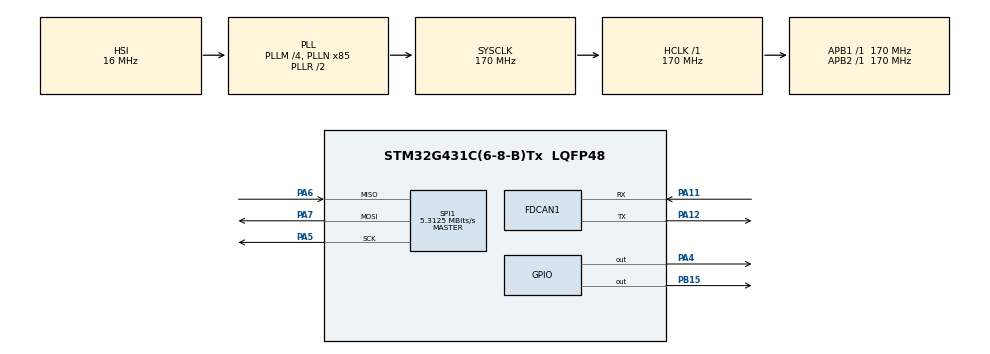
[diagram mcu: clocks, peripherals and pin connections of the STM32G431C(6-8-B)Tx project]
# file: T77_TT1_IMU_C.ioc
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FDCAN1.AutoRetransmission=ENABLE
FDCAN1.CalculateBaudRateNominal=499999
FDCAN1.CalculateTimeBitNominal=2000
FDCAN1.CalculateTimeQuantumNominal=117.64705882352942
FDCAN1.DataPrescaler=20
FDCAN1.DataTimeSeg1=14
FDCAN1.DataTimeSeg2=2
FDCAN1.NominalPrescaler=20
FDCAN1.NominalTimeSeg1=14
Mcu.Family=STM32G4
Mcu.Name=STM32G431C(6-8-B)Tx
Mcu.Package=LQFP48
NVIC.PriorityGroup=NVIC_PRIORITYGROUP_4
NVIC.TIM6_DAC_IRQn=true\:0\:0\:false\:false\:true\:true\:true\:true
PA11.Mode=FDCAN_Activate
PA11.Signal=FDCAN1_RX
PA12.Mode=FDCAN_Activate
PA12.Signal=FDCAN1_TX
PA13.Mode=Serial_Wire
PA13.Signal=SYS_JTMS-SWDIO
PA14.Mode=Serial_Wire
PA14.Signal=SYS_JTCK-SWCLK
PA4.PinState=GPIO_PIN_SET
PA4.Signal=GPIO_Output
PA5.Mode=Full_Duplex_Master
PA5.Signal=SPI1_SCK
PA6.Mode=Full_Duplex_Master
PA6.Signal=SPI1_MISO
PA7.Mode=Full_Duplex_Master
PA7.Signal=SPI1_MOSI
PB15.Signal=GPIO_Output
ProjectManager.HeapSize=0x200
ProjectManager.StackSize=0x400
ProjectManager.TargetToolchain=STM32CubeIDE
RCC.ADC12Freq_Value=170000000
RCC.AHBFreq_Value=170000000
RCC.APB1Freq_Value=170000000
RCC.APB1TimFreq_Value=170000000
RCC.APB2Freq_Value=170000000
RCC.APB2TimFreq_Value=170000000
RCC.CortexFreq_Value=170000000
RCC.EXTERNAL_CLOCK_VALUE=12288000
RCC.HCLKFreq_Value=170000000
RCC.HSE_VALUE=8000000
RCC.HSI48_VALUE=48000000
RCC.HSI_VALUE=16000000
RCC.LSE_VALUE=32768
RCC.PLLM=RCC_PLLM_DIV4
RCC.PLLN=85
RCC.SYSCLKFreq_VALUE=170000000
RCC.SYSCLKSource=RCC_SYSCLKSOURCE_PLLCLK
RCC.USBFreq_Value=170000000
RCC.VCOOutputFreq_Value=340000000
SPI1.BaudRatePrescaler=SPI_BAUDRATEPRESCALER_32
SPI1.CalculateBaudRate=5.3125 MBits/s
SPI1.DataSize=SPI_DATASIZE_8BIT
SPI1.Direction=SPI_DIRECTION_2LINES
SPI1.Mode=SPI_MODE_MASTER
SPI1.NSSPMode=SPI_NSS_PULSE_DISABLE
SPI1.VirtualType=VM_MASTER
TIM6.PeriodNoDither=9999
TIM6.Prescaler=169
VP_TIM6_VS_ClockSourceINT.Mode=Enable_Timer
board=custom

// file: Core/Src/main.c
/* USER CODE BEGIN Header */
/**
  ******************************************************************************
  * @file           : main.c
  * @brief          : Main program body
  ******************************************************************************
  * @attention
  *
  * Copyright (c) 2023 STMicroelectronics.
  * All rights reserved.
  *
  * This software is licensed under terms that can be found in the LICENSE file
  * in the root directory of this software component.
  * If no LICENSE file comes with this software, it is provided AS-IS.
  *
  ******************************************************************************
  */
/* USER CODE END Header */
#include "main.h"

/* USER CODE BEGIN Includes */
#include "icm42607t.h"
#include "stdbool.h"
/* USER CODE END Includes */

FDCAN_HandleTypeDef hfdcan1;

SPI_HandleTypeDef hspi1;

TIM_HandleTypeDef htim6;

/* USER CODE BEGIN PV */
FDCAN_TxHeaderTypeDef ftt1;
FDCAN_TxHeaderTypeDef ftt2;
FDCAN_TxHeaderTypeDef ftt3;
ICM42607T_REGISTER_MAP icm42607trm;
union {
    struct
	{
        uint8_t AXL;
        uint8_t AXH;
        uint8_t AYL;
        uint8_t AYH;
        uint8_t AZL;
        uint8_t AZH;
        uint8_t GXL;
        uint8_t GXH;
        uint8_t GYL;
        uint8_t GYH;
        uint8_t GZL;
        uint8_t GZH;
    };
    struct
	{
    	int16_t AX;
    	int16_t AY;
    	int16_t AZ;
    	int16_t GX;
    	int16_t GY;
    	int16_t GZ;
	};
    uint8_t data8[12];
    int16_t data16[6];
}imuData;

typedef union
{
	struct
	{
		union
		{
			struct
			{
				uint8_t YAW_RATE_L;
				uint8_t YAW_RATE_H;
			};
			uint16_t YAW_RATE;
		};
		uint8_t CLU_STAT:4;
		uint8_t YAW_RATE_STAT:4;
		uint8_t TEMP_RATE_Z;
		union
		{
			struct
			{
				uint8_t AY_L;
				uint8_t AY_H;
			};
			uint16_t AY;
		};
		uint8_t MSG_CNT:4;
		uint8_t AY_STAT:4;
		uint8_t CRC_;
	};
	uint8_t data[8];
}CAN_0x174;

typedef union
{
	struct
	{
		union
		{
			struct
			{
				uint8_t ROLL_RATE_L;
				uint8_t ROLL_RATE_H;
			};
			uint16_t ROLL_RATE;
		};
		uint8_t CLU_STAT5:4;
		uint8_t ROLL_RATE_STAT:4;
		uint8_t CLU_DIAG;
		union
		{
			struct
			{
				uint8_t AX_L;
				uint8_t AX_H;
			};
			uint16_t AX;
		};
		uint8_t MSG_CNT:4;
		uint8_t AX_STAT:4;
		uint8_t CRC_;
	};
	uint8_t data[8];
}CAN_0x178;

typedef union
{
	struct
	{
		union
		{
			struct
			{
				uint8_t PITCH_RATE_L;
				uint8_t PITCH_RATE_H;
			};
			uint16_t PITCH_RATE;
		};
		uint8_t HW_INDEX:4;
		uint8_t PITCH_RATE_STAT:4;
		uint8_t Reserved;
		union
		{
			struct
			{
				uint8_t AZ_L;
				uint8_t AZ_H;
			};
			uint16_t AZ;
		};
		uint8_t MSG_CNT:4;
		uint8_t AZ_STAT:4;
		uint8_t CRC_;
	};
	uint8_t data[8];
}CAN_0x17C;

typedef struct{
	uint32_t timer;
	union
	{
		CAN_0x174 can0x174;
		CAN_0x178 can0x178;
		CAN_0x17C can0x17C;
		uint8_t data8[8];
	};
	bool lose;
}CAN_MESSAGE;

CAN_MESSAGE canMessage0x174;
CAN_MESSAGE canMessage0x178;
CAN_MESSAGE canMessage0x17C;
/* USER CODE END PV */

void SystemClock_Config(void);
static void MX_GPIO_Init(void);
static void MX_FDCAN1_Init(void);
static void MX_SPI1_Init(void);
static void MX_TIM6_Init(void);
/* USER CODE BEGIN PFP */
void SPI2SWNSSTransmitReceive(uint8_t *txData,uint8_t *rxData,uint16_t length);
void CanOutput(void);
void ReadImuICM42607T(void);
void ConfigICM42607T(void);
void CanInitial(void);
uint16_t GetRealAccelerometer(int16_t inputData);
uint16_t GetRealGyroscope(int16_t inputData);
uint16_t GetRealGx(int16_t inputData);
uint8_t Crc8Saej1850(uint8_t *data,int length);
/* USER CODE END PFP */

int main(void)
{

  /* MCU Configuration--------------------------------------------------------*/

  /* Reset of all peripherals, Initializes the Flash interface and the Systick. */
  HAL_Init();

  /* Configure the system clock */
  SystemClock_Config();

  /* Initialize all configured peripherals */
  MX_GPIO_Init();
  MX_FDCAN1_Init();
  MX_SPI1_Init();
  MX_TIM6_Init();
  /* USER CODE BEGIN 2 */
  HAL_Delay(100);
  if (HAL_FDCAN_Start(&hfdcan1) != HAL_OK)
  {
	  Error_Handler();
  }
  if (HAL_FDCAN_ActivateNotification(&hfdcan1, FDCAN_IT_RX_FIFO0_NEW_MESSAGE, 0) != HAL_OK)
  {
	  Error_Handler();
  }
  if (HAL_FDCAN_ActivateNotification(&hfdcan1, FDCAN_IT_TX_FIFO_EMPTY, 0) != HAL_OK)
  {
	  Error_Handler();
  }
  CanInitial();
  ConfigICM42607T();
  HAL_TIM_Base_Start_IT(&htim6);
  /* USER CODE END 2 */

  /* Infinite loop */
  while (1)
  {

  }
}

void SystemClock_Config(void)
{
  RCC_OscInitTypeDef RCC_OscInitStruct = {0};
  RCC_ClkInitTypeDef RCC_ClkInitStruct = {0};

  /** Configure the main internal regulator output voltage
  */
  HAL_PWREx_ControlVoltageScaling(PWR_REGULATOR_VOLTAGE_SCALE1_BOOST);

  /** Initializes the RCC Oscillators according to the specified parameters
  * in the RCC_OscInitTypeDef structure.
  */
  RCC_OscInitStruct.OscillatorType = RCC_OSCILLATORTYPE_HSI;
  RCC_OscInitStruct.HSIState = RCC_HSI_ON;
  RCC_OscInitStruct.HSICalibrationValue = RCC_HSICALIBRATION_DEFAULT;
  RCC_OscInitStruct.PLL.PLLState = RCC_PLL_ON;
  RCC_OscInitStruct.PLL.PLLSource = RCC_PLLSOURCE_HSI;
  RCC_OscInitStruct.PLL.PLLM = RCC_PLLM_DIV4;
  RCC_OscInitStruct.PLL.PLLN = 85;
  RCC_OscInitStruct.PLL.PLLP = RCC_PLLP_DIV2;
  RCC_OscInitStruct.PLL.PLLQ = RCC_PLLQ_DIV2;
  RCC_OscInitStruct.PLL.PLLR = RCC_PLLR_DIV2;
  if (HAL_RCC_OscConfig(&RCC_OscInitStruct) != HAL_OK)
  {
    Error_Handler();
  }

  /** Initializes the CPU, AHB and APB buses clocks
  */
  RCC_ClkInitStruct.ClockType = RCC_CLOCKTYPE_HCLK|RCC_CLOCKTYPE_SYSCLK
                              |RCC_CLOCKTYPE_PCLK1|RCC_CLOCKTYPE_PCLK2;
  RCC_ClkInitStruct.SYSCLKSource = RCC_SYSCLKSOURCE_PLLCLK;
  RCC_ClkInitStruct.AHBCLKDivider = RCC_SYSCLK_DIV1;
  RCC_ClkInitStruct.APB1CLKDivider = RCC_HCLK_DIV1;
  RCC_ClkInitStruct.APB2CLKDivider = RCC_HCLK_DIV1;

  if (HAL_RCC_ClockConfig(&RCC_ClkInitStruct, FLASH_LATENCY_4) != HAL_OK)
  {
    Error_Handler();
  }
}

static void MX_FDCAN1_Init(void)
{

  hfdcan1.Instance = FDCAN1;
  hfdcan1.Init.ClockDivider = FDCAN_CLOCK_DIV1;
  hfdcan1.Init.FrameFormat = FDCAN_FRAME_CLASSIC;
  hfdcan1.Init.Mode = FDCAN_MODE_NORMAL;
  hfdcan1.Init.AutoRetransmission = ENABLE;
  hfdcan1.Init.TransmitPause = DISABLE;
  hfdcan1.Init.ProtocolException = DISABLE;
  hfdcan1.Init.NominalPrescaler = 20;
  hfdcan1.Init.NominalSyncJumpWidth = 1;
  hfdcan1.Init.NominalTimeSeg1 = 14;
  hfdcan1.Init.NominalTimeSeg2 = 2;
  hfdcan1.Init.DataPrescaler = 20;
  hfdcan1.Init.DataSyncJumpWidth = 1;
  hfdcan1.Init.DataTimeSeg1 = 14;
  hfdcan1.Init.DataTimeSeg2 = 2;
  hfdcan1.Init.StdFiltersNbr = 0;
  hfdcan1.Init.ExtFiltersNbr = 0;
  hfdcan1.Init.TxFifoQueueMode = FDCAN_TX_FIFO_OPERATION;
  if (HAL_FDCAN_Init(&hfdcan1) != HAL_OK)
  {
    Error_Handler();
  }

}

static void MX_SPI1_Init(void)
{

  /* SPI1 parameter configuration*/
  hspi1.Instance = SPI1;
  hspi1.Init.Mode = SPI_MODE_MASTER;
  hspi1.Init.Direction = SPI_DIRECTION_2LINES;
  hspi1.Init.DataSize = SPI_DATASIZE_8BIT;
  hspi1.Init.CLKPolarity = SPI_POLARITY_LOW;
  hspi1.Init.CLKPhase = SPI_PHASE_1EDGE;
  hspi1.Init.NSS = SPI_NSS_SOFT;
  hspi1.Init.BaudRatePrescaler = SPI_BAUDRATEPRESCALER_32;
  hspi1.Init.FirstBit = SPI_FIRSTBIT_MSB;
  hspi1.Init.TIMode = SPI_TIMODE_DISABLE;
  hspi1.Init.CRCCalculation = SPI_CRCCALCULATION_DISABLE;
  hspi1.Init.CRCPolynomial = 7;
  hspi1.Init.CRCLength = SPI_CRC_LENGTH_DATASIZE;
  hspi1.Init.NSSPMode = SPI_NSS_PULSE_DISABLE;
  if (HAL_SPI_Init(&hspi1) != HAL_OK)
  {
    Error_Handler();
  }

}

static void MX_TIM6_Init(void)
{

  TIM_MasterConfigTypeDef sMasterConfig = {0};

  htim6.Instance = TIM6;
  htim6.Init.Prescaler = 169;
  htim6.Init.CounterMode = TIM_COUNTERMODE_UP;
  htim6.Init.Period = 9999;
  htim6.Init.AutoReloadPreload = TIM_AUTORELOAD_PRELOAD_DISABLE;
  if (HAL_TIM_Base_Init(&htim6) != HAL_OK)
  {
    Error_Handler();
  }
  sMasterConfig.MasterOutputTrigger = TIM_TRGO_RESET;
  sMasterConfig.MasterSlaveMode = TIM_MASTERSLAVEMODE_DISABLE;
  if (HAL_TIMEx_MasterConfigSynchronization(&htim6, &sMasterConfig) != HAL_OK)
  {
    Error_Handler();
  }

}

static void MX_GPIO_Init(void)
{
  GPIO_InitTypeDef GPIO_InitStruct = {0};

  /* GPIO Ports Clock Enable */
  __HAL_RCC_GPIOA_CLK_ENABLE();
  __HAL_RCC_GPIOB_CLK_ENABLE();

  /*Configure GPIO pin Output Level */
  HAL_GPIO_WritePin(GPIOA, GPIO_PIN_4, GPIO_PIN_SET);

  /*Configure GPIO pin Output Level */
  HAL_GPIO_WritePin(GPIOB, GPIO_PIN_15, GPIO_PIN_RESET);

  /*Configure GPIO pin : PA4 */
  GPIO_InitStruct.Pin = GPIO_PIN_4;
  GPIO_InitStruct.Mode = GPIO_MODE_OUTPUT_PP;
  GPIO_InitStruct.Pull = GPIO_NOPULL;
  GPIO_InitStruct.Speed = GPIO_SPEED_FREQ_LOW;
  HAL_GPIO_Init(GPIOA, &GPIO_InitStruct);

  /*Configure GPIO pin : PB15 */
  GPIO_InitStruct.Pin = GPIO_PIN_15;
  GPIO_InitStruct.Mode = GPIO_MODE_OUTPUT_PP;
  GPIO_InitStruct.Pull = GPIO_NOPULL;
  GPIO_InitStruct.Speed = GPIO_SPEED_FREQ_LOW;
  HAL_GPIO_Init(GPIOB, &GPIO_InitStruct);

}

/* USER CODE BEGIN 4 */

uint8_t Crc8Saej1850(uint8_t *data,int length)
{
	uint8_t t_crc;
    t_crc = 0xFF;//Initial value 0xFF
    for (int f = 0; f < length; f++)
    {
    	t_crc ^= data[f];
        for (int b = 0; b < 8; b++)
        {
            if ((t_crc & 0x80) != 0)
            {
                t_crc <<= 1;
                t_crc ^= 0x1D;//Polynomial 0x1D
            }
            else
            {
                t_crc <<= 1;
            }
        }
    }
    return ~t_crc;//XOR 0xFF
}

void ConfigICM42607T(void)
{
	uint8_t spiTxBuffer[16];
	uint8_t spiRxBuffer[16];

	icm42607trm.BANK0.PWR_MGMT0.data8[0]=0x00;
	icm42607trm.BANK0.GYRO_CONFIG0.data8[0]=0x06;
	icm42607trm.BANK0.ACCEL_CONFIG0.data8[0]=0x06;
	icm42607trm.BANK0.TEMP_CONFIG0.data8[0]=0x00;
	icm42607trm.BANK0.GYRO_CONFIG1.data8[0]=0x31;
	icm42607trm.BANK0.ACCEL_CONFIG1.data8[0]=0x41;

	icm42607trm.BANK0.PWR_MGMT0.ACCEL_MODE=3;
	icm42607trm.BANK0.PWR_MGMT0.GYRO_MODE=3;
	icm42607trm.BANK0.GYRO_CONFIG0.GYRO_UI_FS_SEL=3;
	icm42607trm.BANK0.GYRO_CONFIG0.GYRO_ODR=5;
	icm42607trm.BANK0.ACCEL_CONFIG0.ACCEL_UI_FS_SEL=2;
	icm42607trm.BANK0.ACCEL_CONFIG0.ACCEL_ODR=5;
	icm42607trm.BANK0.GYRO_CONFIG1.GYRO_UI_FILT_BW=7;
	icm42607trm.BANK0.ACCEL_CONFIG1.ACCEL_UI_FILT_BW=7;

	spiTxBuffer[0] = ICM42607T_ADDR_B0_PWR_MGMT0;
	spiTxBuffer[1] = icm42607trm.BANK0.PWR_MGMT0.data8[0];
	spiTxBuffer[2] = icm42607trm.BANK0.GYRO_CONFIG0.data8[0];
	spiTxBuffer[3] = icm42607trm.BANK0.ACCEL_CONFIG0.data8[0];
	spiTxBuffer[4] = icm42607trm.BANK0.TEMP_CONFIG0.data8[0];
	spiTxBuffer[5] = icm42607trm.BANK0.GYRO_CONFIG1.data8[0];
	spiTxBuffer[6] = icm42607trm.BANK0.ACCEL_CONFIG1.data8[0];
	SPI2SWNSSTransmitReceive(spiTxBuffer,spiRxBuffer,7);
	//WhoAmICheck();
}

void ReadImuICM42607T(void)
{
	uint8_t spiTxBuffer[16];
	uint8_t spiRxBuffer[16];

	spiTxBuffer[0] = ICM42607T_ADDR_B0_ACCEL_DATA_X1+0x80;
	SPI2SWNSSTransmitReceive(spiTxBuffer,spiRxBuffer,13);
	imuData.AXL=spiRxBuffer[1+ICM42607T_ADDR_B0_ACCEL_DATA_X0-ICM42607T_ADDR_B0_ACCEL_DATA_X1];
	imuData.AXH=spiRxBuffer[1+ICM42607T_ADDR_B0_ACCEL_DATA_X1-ICM42607T_ADDR_B0_ACCEL_DATA_X1];
	imuData.AYL=spiRxBuffer[1+ICM42607T_ADDR_B0_ACCEL_DATA_Y0-ICM42607T_ADDR_B0_ACCEL_DATA_X1];
	imuData.AYH=spiRxBuffer[1+ICM42607T_ADDR_B0_ACCEL_DATA_Y1-ICM42607T_ADDR_B0_ACCEL_DATA_X1];
	imuData.AZL=spiRxBuffer[1+ICM42607T_ADDR_B0_ACCEL_DATA_Z0-ICM42607T_ADDR_B0_ACCEL_DATA_X1];
	imuData.AZH=spiRxBuffer[1+ICM42607T_ADDR_B0_ACCEL_DATA_Z1-ICM42607T_ADDR_B0_ACCEL_DATA_X1];
	imuData.GXL=spiRxBuffer[1+ICM42607T_ADDR_B0_GYRO_DATA_X0-ICM42607T_ADDR_B0_ACCEL_DATA_X1];
	imuData.GXH=spiRxBuffer[1+ICM42607T_ADDR_B0_GYRO_DATA_X1-ICM42607T_ADDR_B0_ACCEL_DATA_X1];
	imuData.GYL=spiRxBuffer[1+ICM42607T_ADDR_B0_GYRO_DATA_Y0-ICM42607T_ADDR_B0_ACCEL_DATA_X1];
	imuData.GYH=spiRxBuffer[1+ICM42607T_ADDR_B0_GYRO_DATA_Y1-ICM42607T_ADDR_B0_ACCEL_DATA_X1];
	imuData.GZL=spiRxBuffer[1+ICM42607T_ADDR_B0_GYRO_DATA_Z0-ICM42607T_ADDR_B0_ACCEL_DATA_X1];
	imuData.GZH=spiRxBuffer[1+ICM42607T_ADDR_B0_GYRO_DATA_Z1-ICM42607T_ADDR_B0_ACCEL_DATA_X1];
}

void CanInitial(void)
{
	ftt1.Identifier = 0x174;
	ftt1.IdType = FDCAN_STANDARD_ID;
	ftt1.TxFrameType = FDCAN_DATA_FRAME;
	ftt1.DataLength = FDCAN_DLC_BYTES_8;
	ftt1.ErrorStateIndicator = FDCAN_ESI_ACTIVE;
	ftt1.BitRateSwitch = FDCAN_BRS_OFF;
	ftt1.FDFormat = FDCAN_CLASSIC_CAN;
	ftt1.TxEventFifoControl = FDCAN_NO_TX_EVENTS;
	ftt1.MessageMarker = 0;

	ftt2.Identifier = 0x178;
	ftt2.IdType = FDCAN_STANDARD_ID;
	ftt2.TxFrameType = FDCAN_DATA_FRAME;
	ftt2.DataLength = FDCAN_DLC_BYTES_8;
	ftt2.ErrorStateIndicator = FDCAN_ESI_ACTIVE;
	ftt2.BitRateSwitch = FDCAN_BRS_OFF;
	ftt2.FDFormat = FDCAN_CLASSIC_CAN;
	ftt2.TxEventFifoControl = FDCAN_NO_TX_EVENTS;
	ftt2.MessageMarker = 0;

	ftt3.Identifier = 0x17C;
	ftt3.IdType = FDCAN_STANDARD_ID;
	ftt3.TxFrameType = FDCAN_DATA_FRAME;
	ftt3.DataLength = FDCAN_DLC_BYTES_8;
	ftt3.ErrorStateIndicator = FDCAN_ESI_ACTIVE;
	ftt3.BitRateSwitch = FDCAN_BRS_OFF;
	ftt3.FDFormat = FDCAN_CLASSIC_CAN;
	ftt3.TxEventFifoControl = FDCAN_NO_TX_EVENTS;
	ftt3.MessageMarker = 0;
}

void CanOutput(void)
{
	static uint8_t counter=0;

	canMessage0x174.can0x174.AY=GetRealAccelerometer(imuData.AY);
	canMessage0x178.can0x178.AX=GetRealAccelerometer(imuData.AX);
	canMessage0x17C.can0x17C.AZ=GetRealAccelerometer(imuData.AZ);

	canMessage0x174.can0x174.YAW_RATE=GetRealGyroscope(imuData.GZ);
	canMessage0x178.can0x178.ROLL_RATE=GetRealGx(imuData.GX);
	canMessage0x17C.can0x17C.PITCH_RATE=GetRealGyroscope(imuData.GY);

	canMessage0x174.can0x174.MSG_CNT=counter;
	canMessage0x178.can0x178.MSG_CNT=counter;
	canMessage0x17C.can0x17C.MSG_CNT=counter;

	counter++;

	canMessage0x174.can0x174.CRC_=Crc8Saej1850(canMessage0x174.data8, 7);
	canMessage0x178.can0x178.CRC_=Crc8Saej1850(canMessage0x178.data8, 7);
	canMessage0x17C.can0x17C.CRC_=Crc8Saej1850(canMessage0x17C.data8, 7);

	HAL_FDCAN_AddMessageToTxFifoQ(&hfdcan1, &ftt1, canMessage0x174.data8);
	HAL_FDCAN_AddMessageToTxFifoQ(&hfdcan1, &ftt2, canMessage0x178.data8);
	HAL_FDCAN_AddMessageToTxFifoQ(&hfdcan1, &ftt3, canMessage0x17C.data8);
}
void SPI2SWNSSTransmitReceive(uint8_t *txData,uint8_t *rxData,uint16_t length)
{
	HAL_GPIO_WritePin(GPIOA, GPIO_PIN_4, GPIO_PIN_RESET);
	HAL_SPI_TransmitReceive(&hspi1, txData, rxData, length,1000);
	HAL_GPIO_WritePin(GPIOA, GPIO_PIN_4, GPIO_PIN_SET);
}

uint16_t GetRealAccelerometer(int16_t inputData) {
	double result=(double)inputData;
	result=result * 8 / 65535*9.8*800+32768;
	if(result>65534)result=65534;
	else if(result<0)result=0;
	uint16_t result16=result;
	return result16;
}

uint16_t GetRealGyroscope(int16_t inputData) {
	double result=(double)inputData;
	result=result* 500 / 65535*200+32768;
	if(result>65534)result=65534;
	else if(result<0)result=0;
	uint16_t result16=result;
	return result16;
}

uint16_t GetRealGx(int16_t inputData) {
	double result=(double)inputData;
	result=(-result)* 500 / 65535*200+32768;
	if(result>65534)result=65534;
	else if(result<0)result=0;
	uint16_t result16=result;
	return result16;
}

void HAL_TIM_PeriodElapsedCallback(TIM_HandleTypeDef *htim)
{
    if (htim->Instance == htim6.Instance)
    {
    	ReadImuICM42607T();
    	CanOutput();
    }
}
/* USER CODE END 4 */

void Error_Handler(void)
{
  __disable_irq();
  while (1)
  {
  }
}
